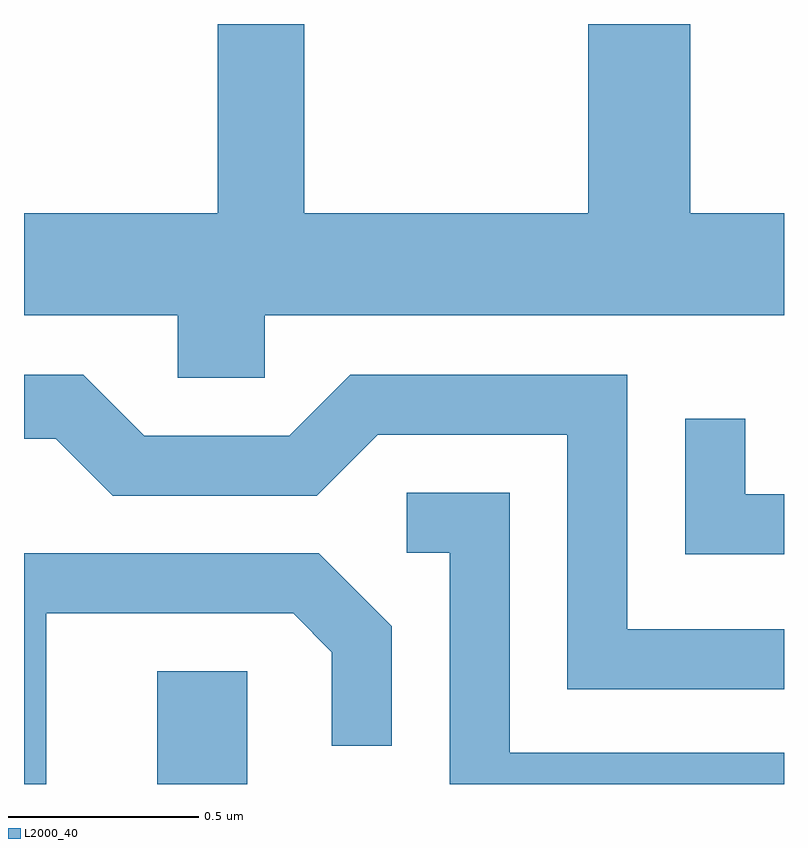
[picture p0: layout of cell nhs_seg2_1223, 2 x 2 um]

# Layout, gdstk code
import gdstk
lib = gdstk.Library(unit=1e-6, precision=1e-09)
def R(c, l, rs):  # rectangles x0, y0, x1, y1
    for r in rs: c.add(gdstk.rectangle(r[:2], r[2:], *l))
def P(c, l, *ps):  # polygons
    for p in ps: c.add(gdstk.Polygon(p, *l))
L2000_40 = (2000, 40)

nhs_seg2_1223 = lib.new_cell('nhs_seg2_1223')
R(nhs_seg2_1223, L2000_40, [(193.961,1104.802,194.199,1105.099)])
P(nhs_seg2_1223, L2000_40, [(194.244,1106.036),(195.611,1106.036),(195.611,1106.304),(195.364,1106.304),(195.364,1106.802),(195.096,1106.802),(195.096,1106.304),(194.349,1106.304),(194.349,1106.802),(194.121,1106.802),(194.121,1106.304),(193.611,1106.304),(193.611,1106.036),(194.016,1106.036),(194.016,1105.871),(194.244,1105.871)],
  [(195.611,1105.209),(195.199,1105.209),(195.199,1105.879),(194.469,1105.879),(194.309,1105.719),(193.927,1105.719),(193.767,1105.879),(193.611,1105.879),(193.611,1105.711),(193.694,1105.711),(193.844,1105.561),(194.382,1105.561),(194.542,1105.721),(195.041,1105.721),(195.041,1105.051),(195.611,1105.051)],
  [(195.611,1105.564),(195.509,1105.564),(195.509,1105.763),(195.351,1105.763),(195.351,1105.406),(195.611,1105.406)],
  [(195.611,1104.884),(194.889,1104.884),(194.889,1105.569),(194.618,1105.569),(194.618,1105.411),(194.731,1105.411),(194.731,1104.802),(195.611,1104.802)],
  [(193.669,1105.251),(194.319,1105.251),(194.421,1105.149),(194.421,1104.903),(194.579,1104.903),(194.579,1105.217),(194.387,1105.409),(193.611,1105.409),(193.611,1104.802),(193.669,1104.802)])

lib.write_gds('nhs_seg2_1223.gds')
